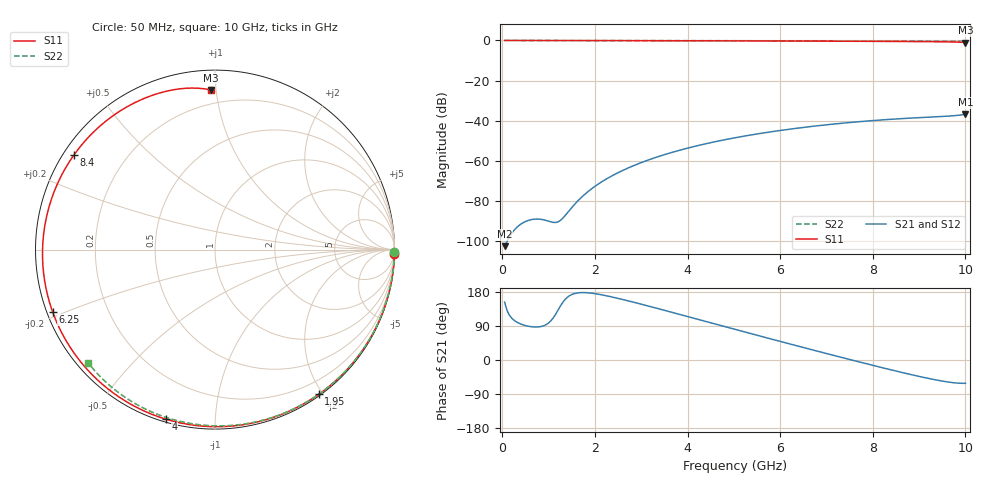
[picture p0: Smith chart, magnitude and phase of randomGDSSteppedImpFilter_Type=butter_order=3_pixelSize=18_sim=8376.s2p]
! freq	dB(S11)	phase(S11)	dB(S12)	phase(S12)
!  dB(S21)	phase(S21)	dB(S22)	phase(S22)
!S-par simulation data
#  GHz  S  DB  R 50
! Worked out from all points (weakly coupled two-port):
!   200 points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, 50 MHz to 10 GHz, reference 50 ohm
!   highest |S21| = -36.70 dB at 10 GHz (marker M1); lowest = -102.4 dB at 50 MHz (marker M2)
!   lowest |S11| = -1.0 dB at 10 GHz (marker M3), VSWR 17.04, Z = 5.71 + j48.5 ohm
!   |S11| at or under -10 dB: nowhere
!   |S22| runs from -0.5 to 0.0 dB; largest |S21 - S12| = 0
!   S11 on the Smith chart (normalised r, x): 50 MHz: 0, -80; 1.95 GHz: 0.02, -1.95; 4 GHz: 0.01, -0.75; 6.25 GHz: 0.02, -0.18; 8.4 GHz: 0.03, +0.30; 10 GHz: 0.11, +0.97
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0.05  -0.00 -1.4  -102.39 152.8  -102.39 152.8  -0.00 -0.8
0.4  -0.01 -11.4  -91.43 94.9  -91.43 94.9  -0.01 -6.4
0.8  -0.03 -22.8  -88.94 87.6  -88.94 87.6  -0.02 -12.7
1.6  -0.06 -44.9  -80.60 176.5  -80.60 176.5  -0.03 -25.2
1.75  -0.06 -48.9  -77.22 178.0  -77.22 178.0  -0.04 -27.6
1.95  -0.07 -54.3  -73.46 176.0  -73.46 176.0  -0.04 -30.6
2.25  -0.08 -62.3  -68.92 169.5  -68.92 169.5  -0.05 -35.2
2.6  -0.09 -71.4  -64.70 159.7  -64.70 159.7  -0.05 -40.5
3.4  -0.12 -91.6  -57.57 134.4  -57.57 134.4  -0.07 -52.4
4  -0.14 -106.2  -53.60 114.7  -53.60 114.7  -0.08 -61.1
4.5  -0.17 -118.1  -50.87 98.2  -50.87 98.2  -0.10 -68.2
5.05  -0.19 -131.0  -48.33 80.1  -48.33 80.1  -0.12 -75.8
5.65  -0.23 -145.0  -46.00 60.4  -46.00 60.4  -0.14 -83.9
6.25  -0.27 -159.1  -44.02 41.0  -44.02 41.0  -0.17 -91.8
6.7  -0.31 -169.8  -42.75 26.6  -42.75 26.6  -0.19 -97.7
7.55  -0.39 169.0  -40.74 -0.2  -40.74 -0.2  -0.24 -108.4
8.35  -0.47 147.5  -39.30 -24.7  -39.30 -24.7  -0.30 -118.3
8.4  -0.48 146.1  -39.22 -26.2  -39.22 -26.2  -0.31 -118.9
8.85  -0.53 132.8  -38.61 -39.2  -38.61 -39.2  -0.35 -124.3
9.25  -0.60 120.1  -38.13 -49.8  -38.13 -49.8  -0.39 -129.2
9.7  -0.73 104.2  -37.55 -59.3  -37.55 -59.3  -0.43 -134.6
10  -1.02 91.4  -36.70 -61.4  -36.70 -61.4  -0.47 -138.2
